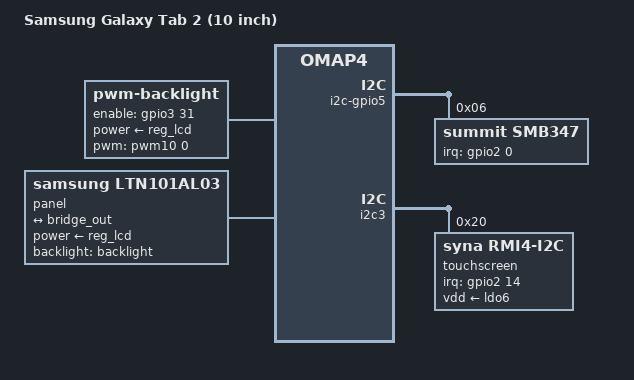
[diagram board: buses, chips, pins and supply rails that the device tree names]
// SPDX-License-Identifier: (GPL-2.0 OR MIT)
/dts-v1/;

#include "omap4-samsung-espresso-common.dtsi"
#include <dt-bindings/power/summit,smb347-charger.h>
/ {
	model = "Samsung Galaxy Tab 2 (10 inch)";
	compatible = "samsung,espresso10", "ti,omap4430", "ti,omap4";

	i2c-gpio5 {
		smb347: charger@6 {
			compatible = "summit,smb347";
			reg = <0x6>; // 0x0C >> 1
			interrupt-parent = <&gpio2>;
			interrupts = <0 IRQ_TYPE_EDGE_BOTH>;

			summit,enable-usb-charging;
			summit,enable-charge-control = <SMB3XX_CHG_ENABLE_SW>;
			summit,chip-temperature-threshold-celsius = <120>;
			summit,usb-current-limit-microamp = <1800000>;
		};
	};

	backlight: backlight {
		compatible = "pwm-backlight";
		pinctrl-names = "default";
		pinctrl-0 = <&backlight_pins>;
		pwms = <&pwm10 0 1600 0>;
		power-supply = <&reg_lcd>;
		enable-gpios = <&gpio3 31 GPIO_ACTIVE_HIGH>;
		brightness-levels = <0 4 8 16 32 64 128 255>;
		default-brightness-level = <7>;
	};

	panel {
		compatible = "samsung,ltn101al03", "panel-lvds";
		power-supply = <&reg_lcd>;
		width-mm = <223>;
		height-mm = <125>;
		data-mapping = "vesa-24";
		backlight = <&backlight>;

		panel-timing {
			clock-frequency = <69818000>;

			hback-porch = <64>;
			hactive = <1280>;
			hfront-porch = <16>;
			hsync-len = <48>;

			vback-porch = <11>;
			vactive = <800>;
			vfront-porch = <16>;
			vsync-len = <3>;

			hsync-active = <0>;
			vsync-active = <0>;
			de-active = <1>;
			pixelclk-active = <1>;
		};

		port {
			panel_in: endpoint {
				remote-endpoint = <&bridge_out>;
			};
		};
	};
};

&i2c3 {
	touchscreen@20 {
		compatible = "syna,rmi4-i2c";
		reg = <0x20>;
		#address-cells = <1>;
		#size-cells = <0>;

		interrupt-parent = <&gpio2>;
		interrupts = <14 IRQ_TYPE_EDGE_FALLING>;

		pinctrl-names = "default";
		pinctrl-0 = <&touch_pins>;

		//avdd-supply = <&reg_touch_ldo_en>;
		vdd-supply = <&ldo6>;

		syna,reset-delay-ms = <200>;
		syna,startup-delay-ms = <200>;

		rmi4-f01@1 {
			reg = <0x01>;
			syna,nosleep-mode = <1>;
		};

		rmi4-f11@11 {
			reg = <0x11>;
			touchscreen-size-x = <1280>;
			touchscreen-size-y = <800>;
			syna,sensor-type = <1>;
		};
	};
};
